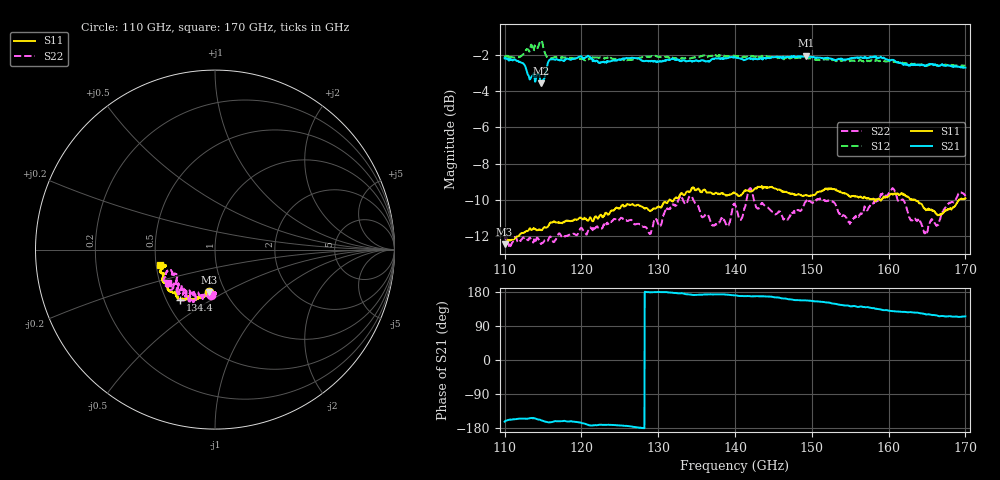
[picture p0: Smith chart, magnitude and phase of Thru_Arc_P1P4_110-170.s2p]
!Keysight Technologies,N5247B,MY61256062,A.16.20.04
!Date: Tuesday, November 25, 2025 06:51:39
!Correction: S11(C  2-Port  )
!S21(C  2-Port  )
!S12(C  2-Port  )
!S22(C  2-Port  )
!S2P File: Measurements: S11, S21, S12, S22:
# Hz S  dB  R 50
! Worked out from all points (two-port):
!   1471 points, 110 GHz to 170 GHz, reference 50 ohm
!   highest |S21| = -2.05 dB at 149.3 GHz (marker M1); lowest = -3.6 dB at 114.7 GHz (marker M2)
!   |S21| within 3 dB of the highest: start of sweep to end of sweep
!   lowest |S11| = -12.4 dB at 110 GHz (marker M3), VSWR 1.63, Z = 42 - j21.1 ohm
!   |S11| at or under -10 dB: start of sweep to 131.4 GHz; 131.6359 GHz to 132.0148 GHz (378.9 MHz wide, 0.287 % of centre); 163.5 GHz to 169.1 GHz (5.63 GHz wide, 3.39 % of centre)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
!   |S22| runs from -12.5 to -9.3 dB; largest |S21 - S12| = 0.26
!   S11 on the Smith chart (normalised r, x): 110 GHz: 0.84, -0.42; 134.4 GHz: 0.59, -0.37; 170 GHz: 0.52, -0.10
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1.1e11  -12.43 -97.8  -2.19 -162.5  -2.05 -147.1  -11.93 -94.7
1.121224e11  -11.84 -96.2  -2.42 -154.7  -2.08 -155.3  -12.21 -89.9
1.147347e11  -11.65 -101.5  -3.58 -159.2  -1.23 -158.6  -12.41 -90.6
1.159184e11  -11.26 -103.2  -2.27 -164.4  -2.18 -159.2  -12.00 -93.3
1.177959e11  -11.21 -104.5  -2.32 -160.6  -2.17 -164.5  -12.00 -95.2
1.2e11  -10.99 -107.3  -2.10 -166.0  -2.22 -165.8  -11.52 -100.9
1.212245e11  -10.99 -109.1  -2.16 -172.7  -2.21 -165.3  -11.54 -106.5
1.240816e11  -10.58 -111.1  -2.32 -171.3  -2.24 -171.3  -11.13 -104.6
1.3e11  -10.36 -118.3  -2.39 179.4  -2.11 -179.2  -11.32 -114.0
1.343673e11  -9.34 -125.1  -2.34 172.1  -2.18 176.0  -9.80 -113.0
1.372245e11  -9.65 -130.5  -2.22 172.9  -2.02 169.6  -11.38 -116.6
1.4e11  -9.62 -133.1  -2.15 170.7  -2.06 164.6  -10.24 -123.9
1.408163e11  -9.71 -133.3  -2.23 168.7  -2.10 162.8  -11.04 -128.9
1.42e11  -9.53 -135.5  -2.20 168.3  -2.06 161.5  -9.36 -124.4
1.465714e11  -9.54 -143.0  -2.14 162.1  -2.16 154.9  -11.05 -126.8
1.493061e11  -9.73 -145.4  -2.05 157.0  -2.16 152.2  -10.02 -132.6
1.5e11  -9.74 -145.5  -2.12 156.2  -2.22 151.1  -10.14 -131.6
1.549388e11  -9.80 -153.0  -2.21 142.1  -2.32 148.8  -11.30 -134.1
1.6e11  -9.78 -156.0  -2.29 130.2  -2.35 145.2  -9.63 -141.9
1.648163e11  -10.51 -161.3  -2.59 120.6  -2.60 138.0  -11.86 -146.6
1.667755e11  -10.81 -162.1  -2.58 115.7  -2.56 135.1  -10.95 -156.0
1.7e11  -9.90 -164.8  -2.71 114.9  -2.61 132.3  -9.79 -144.5
